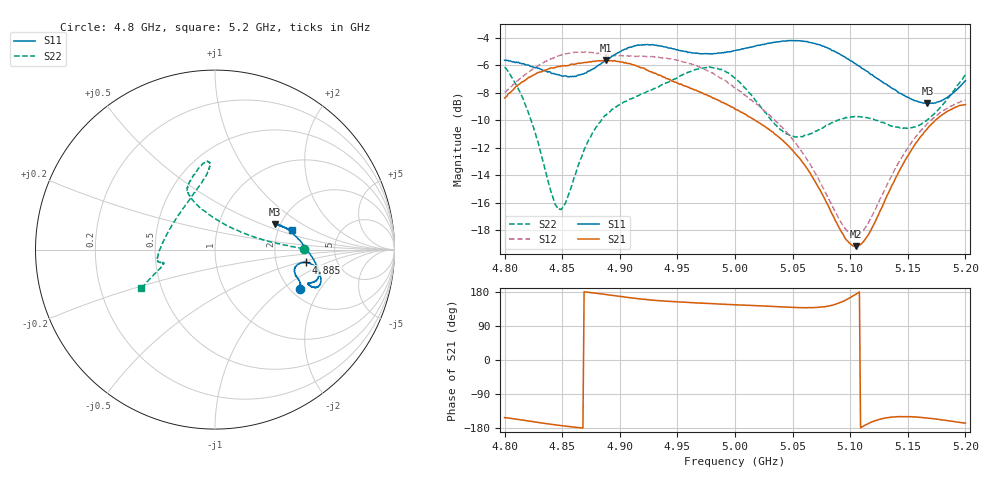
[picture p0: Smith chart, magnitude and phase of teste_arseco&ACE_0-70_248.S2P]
! Network Analyzer HP8722D
! Hewlett-Packard
! Data name: Linha & Wilkinson
! Saver's name: Rodrigo Anjos
! Comments: Teste da utilização de aquisição
! continua pelo VNA HP8722D
! Time and date: 8/5/2025 14:49
!  Frequency  S11  S21  S12  S22
# HZ  S  MA R 50
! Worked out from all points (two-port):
!   401 points, 4.8 GHz to 5.2 GHz, reference 50 ohm
!   highest |S21| = -5.63 dB at 4.888 GHz (marker M1); lowest = -19.2 dB at 5.105 GHz (marker M2)
!   |S21| within 3 dB of the highest: start of sweep to 4.987 GHz
!   lowest |S11| = -8.8 dB at 5.167 GHz (marker M3), VSWR 2.15, Z = 93.6 + j30.9 ohm
!   |S11| at or under -10 dB: nowhere
!   |S22| runs from -16.5 to -6.1 dB; largest |S21 - S12| = 1.1
!   S11 on the Smith chart (normalised r, x): 4.8 GHz: 2.24, -1.36; 4.885 GHz: 2.98, -0.58; 5.2 GHz: 2.36, +0.65
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4.8e9  0.5232 -24.8  0.3811 -152.1  0.3998 7.2  0.4934 0.6
4.818e9  0.5048 -20.8  0.4428 -159.6  0.4646 4.7  0.3602 5.2
4.846e9  0.4636 -16.3  0.4958 -172.0  0.542 0.2  0.1518 54.6
4.853e9  0.4591 -14.6  0.4992 -174.5  0.5525 -1.1  0.1585 80.5
4.867e9  0.465 -10.6  0.5116 -179.4  0.5603 -3.1  0.2327 107.6
4.885e9  0.5131 -8.0  0.521 174.2  0.5519 -4.2  0.3201 114.6
4.888e9  0.5232 -8.1  0.5233 172.6  0.5473 -4.2  0.3296 115.3
4.913e9  0.591 -12.1  0.5022 162.8  0.5415 -3.3  0.3848 113.1
4.934e9  0.5913 -17.1  0.4617 156.6  0.5374 -4.1  0.4189 107.7
4.976e9  0.5529 -20.0  0.39 149.3  0.4799 -7.6  0.4937 95.2
5e9  0.5682 -20.9  0.3472 145.5  0.4165 -7.3  0.45 94.5
5.018e9  0.5904 -20.8  0.3148 143.5  0.3633 -4.8  0.3722 102.6
5.042e9  0.6147 -19.0  0.2659 140.0  0.2948 0.5  0.2868 129.5
5.067e9  0.6056 -14.2  0.1975 138.2  0.2124 8.4  0.2839 165.2
5.093e9  0.5452 -4.7  0.1229 153.6  0.1322 33.0  0.3191 -173.9
5.105e9  0.5071 0.9  0.11 173.8  0.1202 56.1  0.325 -169.7
5.116e9  0.4719 6.6  0.1214 -167.2  0.1344 76.5  0.3221 -167.5
5.134e9  0.4211 15.4  0.1747 -151.5  0.1913 94.1  0.3033 -166.5
5.152e9  0.3793 21.7  0.242 -149.7  0.2576 98.9  0.297 -164.6
5.167e9  0.3641 23.2  0.2948 -153.2  0.3075 99.5  0.3178 -161.8
5.183e9  0.3802 20.6  0.3379 -159.2  0.3478 99.3  0.3719 -157.4
5.2e9  0.4407 14.5  0.3607 -166.6  0.3748 100.0  0.4638 -152.2
